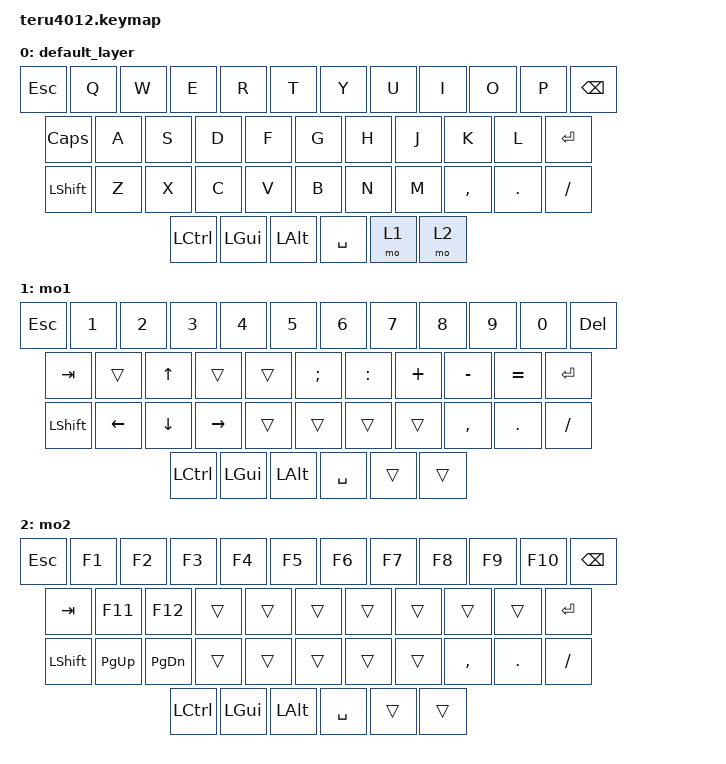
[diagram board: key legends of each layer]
// This file was generated from a template. Edit it to match your keyboard.
// See https://zmk.dev/docs/development/hardware-integration/new-shield for more instructions.

#include <behaviors.dtsi>
#include <dt-bindings/zmk/keys.h>

/ {
    // Define a default keymap here.
    // See https://zmk.dev/docs/development/hardware-integration/new-shield#default-keymap.
    keymap {
        compatible = "zmk,keymap";

        default_layer {
            bindings = <
                &kp ESC &kp Q &kp W &kp E &kp R &kp T &kp Y &kp U &kp I &kp O &kp P &kp BSPC
                &kp CAPS &kp A &kp S &kp D &kp F &kp G &kp H &kp J &kp K &kp L &kp ENTER
                &kp LSHIFT &kp Z &kp X &kp C &kp V &kp B &kp N &kp M &kp COMMA &kp DOT &kp SLASH
                &kp LCTRL &kp LGUI &kp LALT &kp SPACE &mo 1 &mo 2
            >;
        };
          mo1 {
            bindings = <
                &kp ESC &kp N1 &kp N2 &kp N3 &kp N4 &kp N5 &kp N6 &kp N7 &kp N8 &kp N9 &kp N0 &kp DELETE
                &kp TAB &trans &kp UP &trans &trans &kp SEMI &kp COLON &kp PLUS &kp MINUS &kp EQUAL &kp ENTER
                &kp LSHIFT &kp LEFT &kp DOWN &kp RIGHT &trans &trans &trans &trans &kp COMMA &kp DOT &kp SLASH
                &kp LCTRL &kp LGUI &kp LALT &kp SPACE &trans &trans
            >;
        };
          mo2 {
            bindings = <
                &kp ESC &kp F1 &kp F2 &kp F3 &kp F4 &kp F5 &kp F6 &kp F7 &kp F8 &kp F9 &kp F10 &kp BSPC
                &kp TAB &kp F11 &kp F12 &trans &trans &trans &trans &trans &trans &trans &kp ENTER
                &kp LSHIFT &kp PG_UP &kp PG_DN &trans &trans &trans &trans &trans &kp COMMA &kp DOT &kp SLASH
                &kp LCTRL &kp LGUI &kp LALT &kp SPACE &trans &trans
            >;
        };
    };
};
